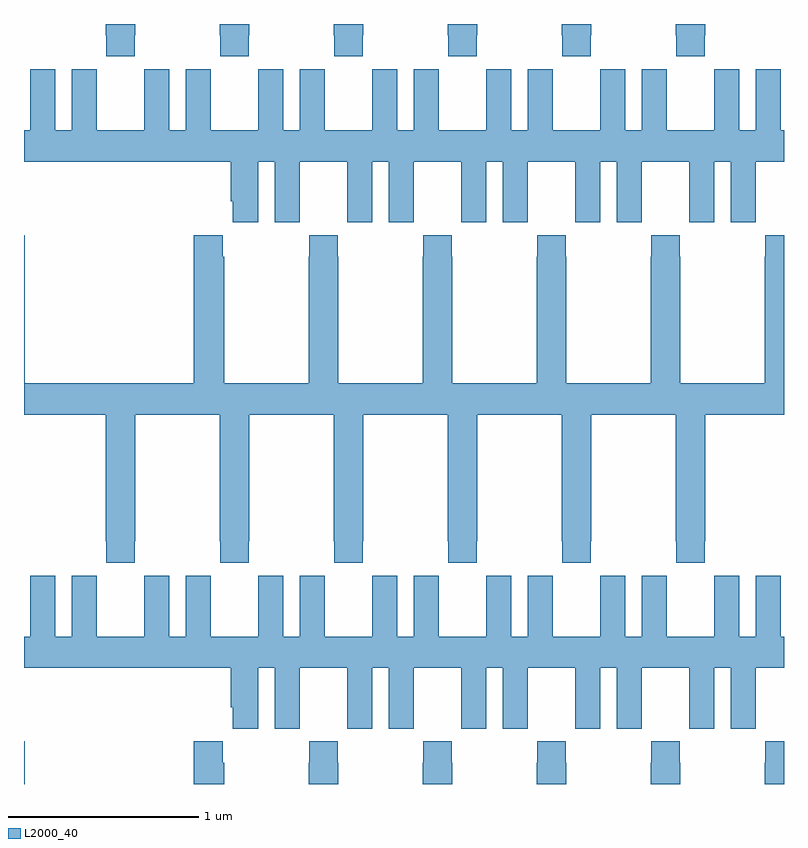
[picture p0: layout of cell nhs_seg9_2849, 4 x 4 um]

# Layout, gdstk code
import gdstk
lib = gdstk.Library(unit=1e-6, precision=1e-09)
def R(c, l, rs):  # rectangles x0, y0, x1, y1
    for r in rs: c.add(gdstk.rectangle(r[:2], r[2:], *l))
def P(c, l, *ps):  # polygons
    for p in ps: c.add(gdstk.Polygon(p, *l))
L2000_40 = (2000, 40)

nhs_seg9_2849 = lib.new_cell('nhs_seg9_2849')
R(nhs_seg9_2849, L2000_40, [(275,1170.5,275.003,1170.724)])
P(nhs_seg9_2849, L2000_40, [(278.583,1174.441),(278.586,1174.441),(278.586,1174.5),(278.431,1174.5),(278.431,1174.441),(278.433,1174.441),(278.433,1174.329),(278.583,1174.329)],
  [(275.583,1174.441),(275.586,1174.441),(275.586,1174.5),(275.431,1174.5),(275.431,1174.441),(275.433,1174.441),(275.433,1174.329),(275.583,1174.329)],
  [(276.183,1174.441),(276.186,1174.441),(276.186,1174.5),(276.031,1174.5),(276.031,1174.441),(276.033,1174.441),(276.033,1174.329),(276.183,1174.329)],
  [(276.783,1174.441),(276.786,1174.441),(276.786,1174.5),(276.631,1174.5),(276.631,1174.441),(276.633,1174.441),(276.633,1174.329),(276.783,1174.329)],
  [(277.383,1174.441),(277.386,1174.441),(277.386,1174.5),(277.231,1174.5),(277.231,1174.441),(277.233,1174.441),(277.233,1174.329),(277.383,1174.329)],
  [(277.983,1174.441),(277.986,1174.441),(277.986,1174.5),(277.831,1174.5),(277.831,1174.441),(277.833,1174.441),(277.833,1174.329),(277.983,1174.329)],
  [(277.901,1173.568),(277.902,1173.568),(277.902,1173.456),(278.032,1173.456),(278.032,1173.776),(278.12,1173.776),(278.12,1173.456),(278.25,1173.456),(278.25,1173.568),(278.251,1173.568),(278.251,1173.776),(278.501,1173.776),(278.501,1173.568),(278.502,1173.568),(278.502,1173.456),(278.632,1173.456),(278.632,1173.776),(278.72,1173.776),(278.72,1173.456),(278.85,1173.456),(278.85,1173.568),(278.851,1173.568),(278.851,1173.776),(279,1173.776),(279,1173.94),(278.983,1173.94),(278.983,1174.148),(278.982,1174.148),(278.982,1174.261),(278.852,1174.261),(278.852,1173.94),(278.764,1173.94),(278.764,1174.261),(278.634,1174.261),(278.634,1174.148),(278.633,1174.148),(278.633,1173.94),(278.383,1173.94),(278.383,1174.148),(278.382,1174.148),(278.382,1174.261),(278.252,1174.261),(278.252,1173.94),(278.164,1173.94),(278.164,1174.261),(278.034,1174.261),(278.034,1174.148),(278.033,1174.148),(278.033,1173.94),(277.783,1173.94),(277.783,1174.148),(277.782,1174.148),(277.782,1174.261),(277.652,1174.261),(277.652,1173.94),(277.564,1173.94),(277.564,1174.261),(277.434,1174.261),(277.434,1174.148),(277.433,1174.148),(277.433,1173.94),(277.183,1173.94),(277.183,1174.148),(277.182,1174.148),(277.182,1174.261),(277.052,1174.261),(277.052,1173.94),(276.964,1173.94),(276.964,1174.261),(276.834,1174.261),(276.834,1174.148),(276.833,1174.148),(276.833,1173.94),(276.583,1173.94),(276.583,1174.148),(276.582,1174.148),(276.582,1174.261),(276.452,1174.261),(276.452,1173.94),(276.364,1173.94),(276.364,1174.261),(276.234,1174.261),(276.234,1174.148),(276.233,1174.148),(276.233,1173.94),(275.983,1173.94),(275.983,1174.148),(275.982,1174.148),(275.982,1174.261),(275.852,1174.261),(275.852,1173.94),(275.764,1173.94),(275.764,1174.261),(275.634,1174.261),(275.634,1174.148),(275.633,1174.148),(275.633,1173.94),(275.383,1173.94),(275.383,1174.148),(275.382,1174.148),(275.382,1174.261),(275.252,1174.261),(275.252,1173.94),(275.164,1173.94),(275.164,1174.261),(275.034,1174.261),(275.034,1174.148),(275.033,1174.148),(275.033,1173.94),(275,1173.94),(275,1173.776),(276.089,1173.776),(276.089,1173.568),(276.098,1173.568),(276.098,1173.456),(276.232,1173.456),(276.232,1173.776),(276.32,1173.776),(276.32,1173.456),(276.45,1173.456),(276.45,1173.568),(276.451,1173.568),(276.451,1173.776),(276.701,1173.776),(276.701,1173.568),(276.702,1173.568),(276.702,1173.456),(276.832,1173.456),(276.832,1173.776),(276.92,1173.776),(276.92,1173.456),(277.05,1173.456),(277.05,1173.568),(277.051,1173.568),(277.051,1173.776),(277.301,1173.776),(277.301,1173.568),(277.302,1173.568),(277.302,1173.456),(277.432,1173.456),(277.432,1173.776),(277.52,1173.776),(277.52,1173.456),(277.65,1173.456),(277.65,1173.568),(277.651,1173.568),(277.651,1173.776),(277.901,1173.776)],
  [(278.454,1173.275),(278.451,1173.275),(278.451,1173.388),(278.301,1173.388),(278.301,1173.275),(278.299,1173.275),(278.299,1172.608),(277.854,1172.608),(277.854,1173.275),(277.851,1173.275),(277.851,1173.388),(277.701,1173.388),(277.701,1173.275),(277.699,1173.275),(277.699,1172.608),(277.254,1172.608),(277.254,1173.275),(277.251,1173.275),(277.251,1173.388),(277.101,1173.388),(277.101,1173.275),(277.099,1173.275),(277.099,1172.608),(276.654,1172.608),(276.654,1173.275),(276.651,1173.275),(276.651,1173.388),(276.501,1173.388),(276.501,1173.275),(276.499,1173.275),(276.499,1172.608),(276.054,1172.608),(276.054,1173.275),(276.047,1173.275),(276.047,1173.388),(275.894,1173.388),(275.894,1172.608),(275.003,1172.608),(275.003,1173.388),(275,1173.388),(275,1172.444),(275.431,1172.444),(275.431,1171.777),(275.433,1171.777),(275.433,1171.665),(275.583,1171.665),(275.583,1171.777),(275.586,1171.777),(275.586,1172.444),(276.031,1172.444),(276.031,1171.777),(276.033,1171.777),(276.033,1171.665),(276.183,1171.665),(276.183,1171.777),(276.186,1171.777),(276.186,1172.444),(276.631,1172.444),(276.631,1171.777),(276.633,1171.777),(276.633,1171.665),(276.783,1171.665),(276.783,1171.777),(276.786,1171.777),(276.786,1172.444),(277.231,1172.444),(277.231,1171.777),(277.233,1171.777),(277.233,1171.665),(277.383,1171.665),(277.383,1171.777),(277.386,1171.777),(277.386,1172.444),(277.831,1172.444),(277.831,1171.777),(277.833,1171.777),(277.833,1171.665),(277.983,1171.665),(277.983,1171.777),(277.986,1171.777),(277.986,1172.444),(278.431,1172.444),(278.431,1171.777),(278.433,1171.777),(278.433,1171.665),(278.583,1171.665),(278.583,1171.777),(278.586,1171.777),(278.586,1172.444),(279,1172.444),(279,1173.388),(278.901,1173.388),(278.901,1173.275),(278.899,1173.275),(278.899,1172.608),(278.454,1172.608)],
  [(276.232,1171.112),(276.32,1171.112),(276.32,1170.792),(276.45,1170.792),(276.45,1170.904),(276.451,1170.904),(276.451,1171.112),(276.701,1171.112),(276.701,1170.904),(276.702,1170.904),(276.702,1170.792),(276.832,1170.792),(276.832,1171.112),(276.92,1171.112),(276.92,1170.792),(277.05,1170.792),(277.05,1170.904),(277.051,1170.904),(277.051,1171.112),(277.301,1171.112),(277.301,1170.904),(277.302,1170.904),(277.302,1170.792),(277.432,1170.792),(277.432,1171.112),(277.52,1171.112),(277.52,1170.792),(277.65,1170.792),(277.65,1170.904),(277.651,1170.904),(277.651,1171.112),(277.901,1171.112),(277.901,1170.904),(277.902,1170.904),(277.902,1170.792),(278.032,1170.792),(278.032,1171.112),(278.12,1171.112),(278.12,1170.792),(278.25,1170.792),(278.25,1170.904),(278.251,1170.904),(278.251,1171.112),(278.501,1171.112),(278.501,1170.904),(278.502,1170.904),(278.502,1170.792),(278.632,1170.792),(278.632,1171.112),(278.72,1171.112),(278.72,1170.792),(278.85,1170.792),(278.85,1170.904),(278.851,1170.904),(278.851,1171.112),(279,1171.112),(279,1171.276),(278.983,1171.276),(278.983,1171.484),(278.982,1171.484),(278.982,1171.597),(278.852,1171.597),(278.852,1171.276),(278.764,1171.276),(278.764,1171.597),(278.634,1171.597),(278.634,1171.484),(278.633,1171.484),(278.633,1171.276),(278.383,1171.276),(278.383,1171.484),(278.382,1171.484),(278.382,1171.597),(278.252,1171.597),(278.252,1171.276),(278.164,1171.276),(278.164,1171.597),(278.034,1171.597),(278.034,1171.484),(278.033,1171.484),(278.033,1171.276),(277.783,1171.276),(277.783,1171.484),(277.782,1171.484),(277.782,1171.597),(277.652,1171.597),(277.652,1171.276),(277.564,1171.276),(277.564,1171.597),(277.434,1171.597),(277.434,1171.484),(277.433,1171.484),(277.433,1171.276),(277.183,1171.276),(277.183,1171.484),(277.182,1171.484),(277.182,1171.597),(277.052,1171.597),(277.052,1171.276),(276.964,1171.276),(276.964,1171.597),(276.834,1171.597),(276.834,1171.484),(276.833,1171.484),(276.833,1171.276),(276.583,1171.276),(276.583,1171.484),(276.582,1171.484),(276.582,1171.597),(276.452,1171.597),(276.452,1171.276),(276.364,1171.276),(276.364,1171.597),(276.234,1171.597),(276.234,1171.484),(276.233,1171.484),(276.233,1171.276),(275.983,1171.276),(275.983,1171.484),(275.982,1171.484),(275.982,1171.597),(275.852,1171.597),(275.852,1171.276),(275.764,1171.276),(275.764,1171.597),(275.634,1171.597),(275.634,1171.484),(275.633,1171.484),(275.633,1171.276),(275.383,1171.276),(275.383,1171.484),(275.382,1171.484),(275.382,1171.597),(275.252,1171.597),(275.252,1171.276),(275.164,1171.276),(275.164,1171.597),(275.034,1171.597),(275.034,1171.484),(275.033,1171.484),(275.033,1171.276),(275,1171.276),(275,1171.112),(276.089,1171.112),(276.089,1170.904),(276.098,1170.904),(276.098,1170.792),(276.232,1170.792)],
  [(279,1170.724),(278.901,1170.724),(278.901,1170.611),(278.899,1170.611),(278.899,1170.5),(279,1170.5)],
  [(278.454,1170.611),(278.451,1170.611),(278.451,1170.724),(278.301,1170.724),(278.301,1170.611),(278.299,1170.611),(278.299,1170.5),(278.454,1170.5)],
  [(277.254,1170.611),(277.251,1170.611),(277.251,1170.724),(277.101,1170.724),(277.101,1170.611),(277.099,1170.611),(277.099,1170.5),(277.254,1170.5)],
  [(276.654,1170.611),(276.651,1170.611),(276.651,1170.724),(276.501,1170.724),(276.501,1170.611),(276.499,1170.611),(276.499,1170.5),(276.654,1170.5)],
  [(276.054,1170.611),(276.047,1170.611),(276.047,1170.724),(275.894,1170.724),(275.894,1170.5),(276.054,1170.5)],
  [(277.854,1170.611),(277.851,1170.611),(277.851,1170.724),(277.701,1170.724),(277.701,1170.611),(277.699,1170.611),(277.699,1170.5),(277.854,1170.5)])

lib.write_gds('nhs_seg9_2849.gds')
